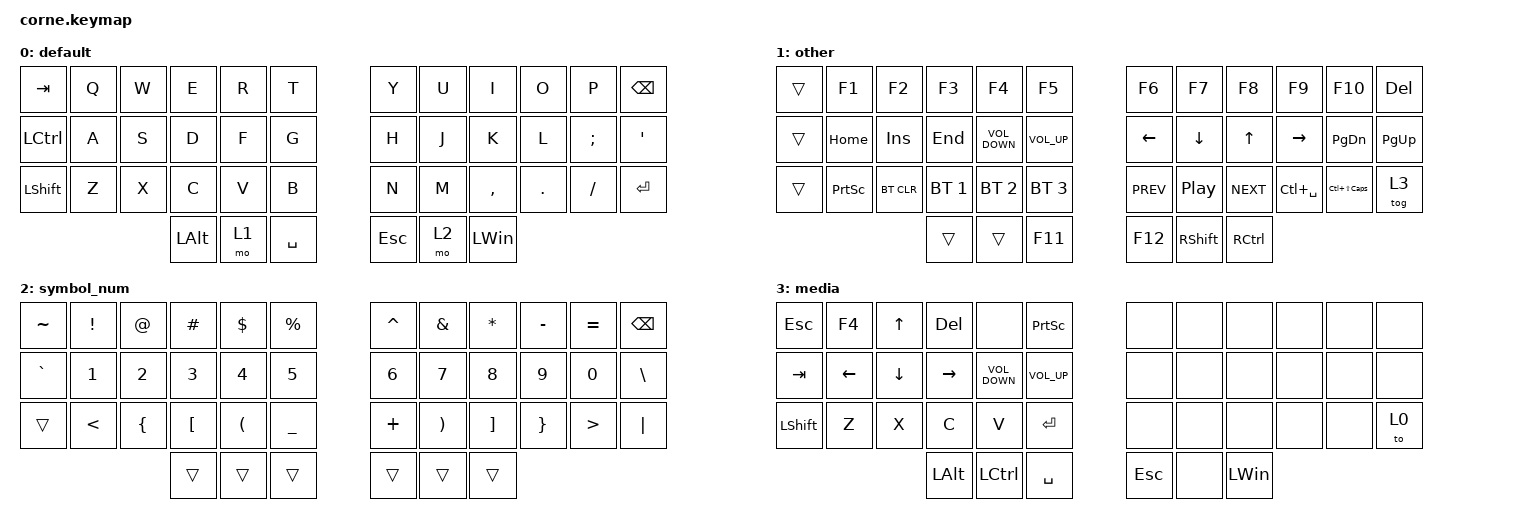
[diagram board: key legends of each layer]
/*
 * Copyright (c) 2020 The ZMK Contributors
 *
 * SPDX-License-Identifier: MIT
 */

#include <behaviors.dtsi>
#include <dt-bindings/zmk/bt.h>
#include <dt-bindings/zmk/keys.h>

/ {
    keymap {
        compatible = "zmk,keymap";

        default {
            // -----------------------------------------------------------------------------------------
            // |  TAB |  Q  |  W  |  E  |  R  |  T  |   |  Y  |  U   |  I  |  O  |  P  | BKSP |
            // | CTRL |  A  |  S  |  D  |  F  |  G  |   |  H  |  J   |  K  |  L  |  ;  |  '   |
            // | SHFT |  Z  |  X  |  C  |  V  |  B  |   |  N  |  M   |  ,  |  .  |  /  | ESC  |
            //                    | GUI | LWR | SPC |   | ENT | RSE  | ALT |

            bindings = <
&kp TAB    &kp Q  &kp W  &kp E         &kp R  &kp T        &kp Y       &kp U  &kp I         &kp O    &kp P     &kp BSPC
&kp LCTRL  &kp A  &kp S  &kp D         &kp F  &kp G        &kp H       &kp J  &kp K         &kp L    &kp SEMI  &kp SQT
&kp LSHFT  &kp Z  &kp X  &kp C         &kp V  &kp B        &kp N       &kp M  &kp COMMA     &kp DOT  &kp FSLH  &kp ENTER
                         &kp LEFT_ALT  &mo 1  &kp SPACE    &kp ESCAPE  &mo 2  &kp LEFT_WIN
            >;
        };

        other {
            // -----------------------------------------------------------------------------------------
            // |  TAB |  1  |  2  |  3  |  4  |  5  |   |  6  |  7  |  8  |  9  |  0  | BKSP |
            // | BTCLR| BT1 | BT2 | BT3 | BT4 | BT5 |   | LFT | DWN |  UP | RGT |     |      |
            // | SHFT |     |     |     |     |     |   |     |     |     |     |     |      |
            //                    | GUI |     | SPC |   | ENT |     | ALT |

            bindings = <
&trans  &kp F1           &kp F2      &kp F3        &kp F4             &kp F5          &kp F6      &kp F7            &kp F8      &kp F9         &kp F10               &kp DEL
&trans  &kp HOME         &kp INSERT  &kp END       &kp C_VOLUME_DOWN  &kp C_VOL_UP    &kp LEFT    &kp DOWN          &kp UP      &kp RIGHT      &kp PAGE_DOWN         &kp PAGE_UP
&trans  &kp PRINTSCREEN  &bt BT_CLR  &bt BT_SEL 1  &bt BT_SEL 2       &bt BT_SEL 3    &kp C_PREV  &kp C_PLAY_PAUSE  &kp C_NEXT  &kp LC(SPACE)  &kp LC(LS(CAPSLOCK))  &tog 3
                                     &trans        &trans             &kp F11         &kp F12     &kp RSHIFT        &kp RCTRL
            >;
        };

        symbol_num {
            // -----------------------------------------------------------------------------------------
            // |  TAB |  !  |  @  |  #  |  $  |  %  |   |  ^  |  &  |  *  |  (  |  )  | BKSP |
            // | CTRL |     |     |     |     |     |   |  -  |  =  |  [  |  ]  |  \  |  `   |
            // | SHFT |     |     |     |     |     |   |  _  |  +  |  {  |  }  | "|" |  ~   |
            //                    | GUI |     | SPC |   | ENT |     | ALT |

            bindings = <
&kp TILDE  &kp EXCL       &kp AT          &kp HASH          &kp DLLR              &kp PRCNT         &kp CARET     &kp AMPS               &kp ASTERISK       &kp MINUS        &kp EQUAL         &kp BACKSPACE
&kp GRAVE  &kp NUMBER_1   &kp NUMBER_2    &kp NUMBER_3      &kp NUMBER_4          &kp NUMBER_5      &kp NUMBER_6  &kp NUMBER_7           &kp NUMBER_8       &kp NUMBER_9     &kp NUMBER_0      &kp BSLH
&trans     &kp LESS_THAN  &kp LEFT_BRACE  &kp LEFT_BRACKET  &kp LEFT_PARENTHESIS  &kp UNDERSCORE    &kp PLUS      &kp RIGHT_PARENTHESIS  &kp RIGHT_BRACKET  &kp RIGHT_BRACE  &kp GREATER_THAN  &kp PIPE
                                          &trans            &trans                &trans            &trans        &trans                 &trans
            >;
        };

        media {
            bindings = <
&kp ESC    &kp F4    &kp UP_ARROW  &kp DEL    &none              &kp PRINTSCREEN    &none       &none  &none         &none  &none  &none
&kp TAB    &kp LEFT  &kp DOWN      &kp RIGHT  &kp C_VOLUME_DOWN  &kp C_VOL_UP       &none       &none  &none         &none  &none  &none
&kp LSHFT  &kp Z     &kp X         &kp C      &kp V              &kp ENTER          &none       &none  &none         &none  &none  &to 0
                                   &kp LALT   &kp LCTRL          &kp SPACE          &kp ESCAPE  &none  &kp LEFT_WIN
            >;
        };
    };
};
